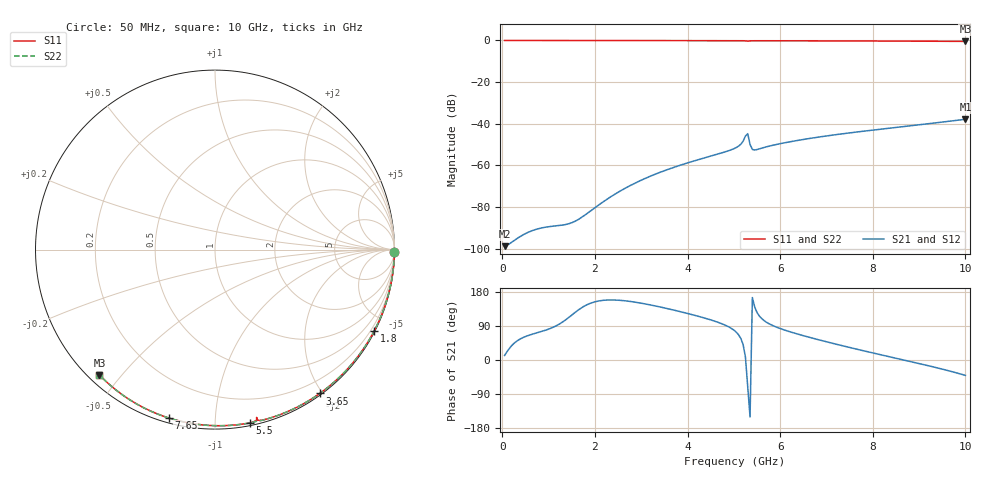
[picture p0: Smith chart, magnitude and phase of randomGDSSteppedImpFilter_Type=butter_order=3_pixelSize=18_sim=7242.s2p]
! freq	dB(S11)	phase(S11)	dB(S12)	phase(S12)
!  dB(S21)	phase(S21)	dB(S22)	phase(S22)
!S-par simulation data
#  GHz  S  DB  R 50
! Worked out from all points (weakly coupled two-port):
!   200 points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, 50 MHz to 10 GHz, reference 50 ohm
!   highest |S21| = -37.86 dB at 10 GHz (marker M1); lowest = -98.8 dB at 50 MHz (marker M2)
!   lowest |S11| = -0.4 dB at 10 GHz (marker M3), VSWR 38.92, Z = 1.53 - j21.9 ohm
!   |S11| at or under -10 dB: nowhere
!   |S22| runs from -0.4 to 0.0 dB; largest |S21 - S12| = 0
!   S11 on the Smith chart (normalised r, x): 50 MHz: open; 1.8 GHz: 0.04, -4.13; 3.65 GHz: 0.02, -1.97; 5.5 GHz: 0.02, -1.22; 7.65 GHz: 0.02, -0.76; 10 GHz: 0.03, -0.44
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0.05  -0.00 -0.8  -98.80 12.0  -98.80 12.0  -0.00 -0.8
0.9  -0.02 -13.7  -89.81 77.2  -89.81 77.2  -0.02 -13.7
1.75  -0.03 -26.5  -84.42 140.7  -84.42 140.7  -0.03 -26.5
1.8  -0.03 -27.2  -83.62 144.0  -83.62 144.0  -0.03 -27.2
2.05  -0.04 -30.9  -79.53 155.0  -79.53 155.0  -0.04 -30.9
2.65  -0.05 -39.7  -71.01 156.2  -71.01 156.2  -0.05 -39.7
3.4  -0.07 -50.4  -63.39 140.2  -63.39 140.2  -0.07 -50.4
3.65  -0.07 -53.9  -61.36 133.3  -61.36 133.3  -0.07 -53.9
4.8  -0.10 -69.7  -53.59 92.7  -53.59 92.7  -0.10 -69.6
5.05  -0.11 -73.1  -51.44 73.7  -51.44 73.7  -0.11 -72.9
5.15  -0.13 -74.6  -49.84 57.1  -49.84 57.1  -0.12 -74.3
5.2  -0.14 -75.4  -48.39 41.0  -48.39 41.0  -0.12 -74.9
5.25  -0.20 -76.2  -45.91 8.2  -45.91 8.2  -0.13 -75.6
5.3  -0.32 -76.1  -44.77 -70.8  -44.77 -70.8  -0.15 -76.2
5.35  -0.20 -76.2  -49.95 -150.3  -49.95 -150.3  -0.13 -76.8
5.4  -0.15 -77.0  -52.33 164.8  -52.33 164.8  -0.13 -77.4
5.5  -0.14 -78.5  -52.39 125.5  -52.39 125.5  -0.13 -78.8
5.95  -0.15 -84.5  -49.81 85.3  -49.81 85.3  -0.15 -84.5
6.7  -0.18 -93.9  -46.84 57.6  -46.84 57.6  -0.18 -93.9
7.65  -0.24 -105.4  -43.98 28.7  -43.98 28.7  -0.24 -105.5
8.35  -0.29 -113.7  -42.17 8.9  -42.17 8.9  -0.29 -113.7
10  -0.45 -132.7  -37.86 -40.6  -37.86 -40.6  -0.45 -132.7
